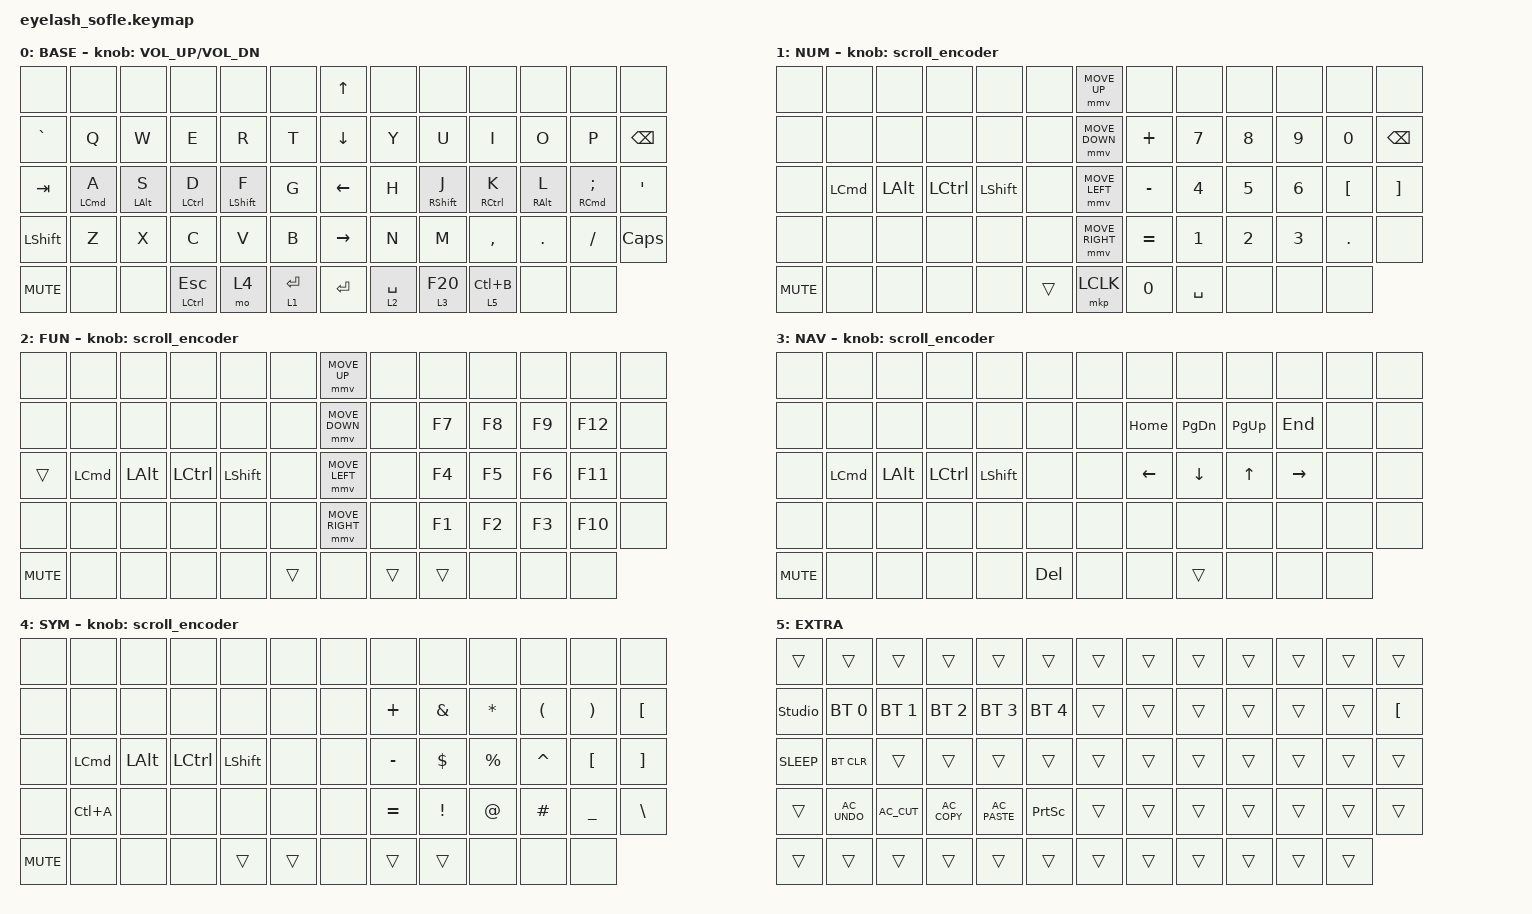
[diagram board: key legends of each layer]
#define ZMK_POINTING_DEFAULT_MOVE_VAL 1200  // 600
#define ZMK_POINTING_DEFAULT_SCRL_VAL 25   // 10

#include <input/processors.dtsi>
#include <zephyr/dt-bindings/input/input-event-codes.h>
#include <behaviors.dtsi>
#include <dt-bindings/zmk/bt.h>
#include <dt-bindings/zmk/keys.h>
#include <dt-bindings/zmk/pointing.h>

&mmv_input_listener { input-processors = <&zip_xy_scaler 2 1>; };

&msc_input_listener { input-processors = <&zip_scroll_scaler 2 1>; };

&msc {
    acceleration-exponent = <1>;      // 0
    time-to-max-speed-ms = <100>;       // 300
    delay-ms = <0>;                   // 0
};

&mmv {
    time-to-max-speed-ms = <500>;
    acceleration-exponent = <1>;
    trigger-period-ms = <16>;
};

&soft_off { hold-time-ms = <2000>; };

/ {
    scroll_encoder: scroll_encoder {
        compatible = "zmk,behavior-sensor-rotate";
        #sensor-binding-cells = <0>;
        bindings = <&msc SCRL_DOWN>, <&msc SCRL_UP>;

        tap-ms = <100>;
    };

    hml: hml {
        compatible = "zmk,behavior-hold-tap";
        label = "HML";
        bindings = <&kp>, <&kp>;

        #binding-cells = <2>;
        tapping-term-ms = <280>;
        quick-tap-ms = <175>;
        flavor = "balanced";
        hold-trigger-on-release;
        hold-trigger-key-positions = <20 21 22 23 24 25 38 37 36 35 34 33 46 47 48 49 50 51 59 60 61 62 63 12 11 10 9 8 7>;
        require-prior-idle-ms = <150>;
    };

    hmr: hmr {
        compatible = "zmk,behavior-hold-tap";
        label = "HMR";
        bindings = <&kp>, <&kp>;

        #binding-cells = <2>;
        tapping-term-ms = <280>;
        quick-tap-ms = <175>;
        flavor = "balanced";
        hold-trigger-on-release;
        hold-trigger-key-positions = <18 17 16 15 14 13 26 27 28 30 29 31 44 43 42 41 40 39 57 56 55 54 53 5 4 3 2 1 0>;
        require-prior-idle-ms = <150>;
    };

    behaviors {
    };

    combos {
        compatible = "zmk,combos";

        softoff {
            bindings = <&soft_off>;
            key-positions = <14 28 40>;
        };

        caps_word {
            bindings = <&caps_word>;
            key-positions = <31 33>;
            require-prior-idle-ms = <150>;
            timeout-ms = <40>;
        };
    };

    macros {
        SHIFT_MCLK: SHIFT_MCLK {
            compatible = "zmk,behavior-macro";
            #binding-cells = <0>;
            bindings =
                <&macro_press>,
                <&kp LEFT_SHIFT>,
                <&macro_press>,
                <&mkp MB3>,
                <&macro_pause_for_release>,
                <&macro_release>,
                <&kp LEFT_SHIFT &mkp MB3>;

            label = "SHIFT_MCLK";
        };
    };

    keymap {
        compatible = "zmk,keymap";

        BASE {
            bindings = <
&none           &none        &none        &none              &none          &none          &kp UP_ARROW     &none        &none          &none         &none        &none           &none
&kp GRAVE       &kp Q        &kp W        &kp E              &kp R          &kp T          &kp DOWN_ARROW   &kp Y        &kp U          &kp I         &kp O        &kp P           &kp BACKSPACE
&kp TAB         &hml LCMD A  &hml LALT S  &hml LCTRL D       &hml LSHIFT F  &kp G          &kp LEFT_ARROW   &kp H        &hmr RSHIFT J  &hmr RCTRL K  &hmr RALT L  &hmr RCMD SEMI  &kp APOS
&kp LEFT_SHIFT  &kp Z        &kp X        &kp C              &kp V          &kp B          &kp RIGHT_ARROW  &kp N        &kp M          &kp COMMA     &kp DOT      &kp FSLH        &kp CAPS
&kp C_MUTE      &none        &none        &mt LCTRL ESCAPE  &mo 4          &lt 1 ENTER    &kp ENTER        &lt 2 SPACE  &lt 3 F20      &lt 5 LC(B)   &none        &none
            >;

            sensor-bindings = <&inc_dec_kp C_VOLUME_UP C_VOL_DN>;
            display-name = "BASE";
        };

        NUM {
            bindings = <
&none       &none     &none     &none      &none       &none     &mmv MOVE_UP     &none      &none      &none   &none   &none     &none
&none       &none     &none     &none      &none       &none     &mmv MOVE_DOWN   &kp PLUS   &kp N7     &kp N8  &kp N9  &kp N0    &kp BACKSPACE
&none       &kp LCMD  &kp LALT  &kp LCTRL  &kp LSHIFT  &none     &mmv MOVE_LEFT   &kp MINUS  &kp N4     &kp N5  &kp N6  &kp LBKT  &kp RBKT
&none       &none     &none     &none      &none       &none     &mmv MOVE_RIGHT  &kp EQUAL  &kp N1     &kp N2  &kp N3  &kp DOT   &none
&kp C_MUTE  &none     &none     &none      &none       &trans    &mkp LCLK        &kp N0     &kp SPACE  &none   &none   &none
            >;

            display-name = "NUM";
            sensor-bindings = <&scroll_encoder>;
            label = "NUM";
        };

        FUN {
            bindings = <
&none       &none     &none     &none      &none      &none     &mmv MOVE_UP     &none   &none   &none   &none   &none    &none
&none       &none     &none     &none      &none      &none     &mmv MOVE_DOWN   &none   &kp F7  &kp F8  &kp F9  &kp F12  &none
&trans      &kp LCMD  &kp LALT  &kp LCTRL  &kp LSHFT  &none     &mmv MOVE_LEFT   &none   &kp F4  &kp F5  &kp F6  &kp F11  &none
&none       &none     &none     &none      &none      &none     &mmv MOVE_RIGHT  &none   &kp F1  &kp F2  &kp F3  &kp F10  &none
&kp C_MUTE  &none     &none     &none      &none      &trans    &none            &trans  &trans  &none   &none   &none
            >;

            display-name = "FUN";
            sensor-bindings = <&scroll_encoder>;
            label = "FUN";
        };

        NAV {
            bindings = <
&none       &none     &none     &none      &none      &none      &none  &none     &none      &none      &none      &none  &none
&none       &none     &none     &none      &none      &none      &none  &kp HOME  &kp PG_DN  &kp PG_UP  &kp END    &none  &none
&none       &kp LCMD  &kp LALT  &kp LCTRL  &kp LSHFT  &none      &none  &kp LEFT  &kp DOWN   &kp UP     &kp RIGHT  &none  &none
&none       &none     &none     &none      &none      &none      &none  &none     &none      &none      &none      &none  &none
&kp C_MUTE  &none     &none     &none      &none      &kp DEL    &none  &none     &trans     &none      &none      &none
            >;

            display-name = "NAV";
            sensor-bindings = <&scroll_encoder>;
            label = "NAV";
        };

        SYM {
            display-name = "SYM";
            label = "SYM";
            bindings = <
&none       &none      &none     &none      &none      &none     &none  &none      &none     &none      &none      &none      &none
&none       &none      &none     &none      &none      &none     &none  &kp PLUS   &kp AMPS  &kp ASTRK  &kp LPAR   &kp RPAR   &kp LEFT_BRACKET
&none       &kp LCMD   &kp LALT  &kp LCTRL  &kp LSHFT  &none     &none  &kp MINUS  &kp DLLR  &kp PRCNT  &kp CARET  &kp LBKT   &kp RBKT
&none       &kp LC(A)  &none     &none      &none      &none     &none  &kp EQUAL  &kp EXCL  &kp AT     &kp HASH   &kp UNDER  &kp BACKSLASH
&kp C_MUTE  &none      &none     &none      &trans     &trans    &none  &trans     &trans    &none      &none      &none
            >;

            sensor-bindings = <&scroll_encoder>;
        };

        EXTRA {
            bindings = <
&trans          &trans         &trans        &trans         &trans          &trans             &trans  &trans  &trans  &trans  &trans  &trans  &trans
&studio_unlock  &bt BT_SEL 0   &bt BT_SEL 1  &bt BT_SEL 2   &bt BT_SEL 3    &bt BT_SEL 4       &trans  &trans  &trans  &trans  &trans  &trans  &kp LEFT_BRACKET
&kp C_SLEEP     &bt BT_CLR     &trans        &trans         &trans          &trans             &trans  &trans  &trans  &trans  &trans  &trans  &trans
&trans          &kp C_AC_UNDO  &kp C_AC_CUT  &kp C_AC_COPY  &kp C_AC_PASTE  &kp PRINTSCREEN    &trans  &trans  &trans  &trans  &trans  &trans  &trans
&trans          &trans         &trans        &trans         &trans          &trans             &trans  &trans  &trans  &trans  &trans  &trans
            >;

            label = "EXTRA";
        };
    };
};
